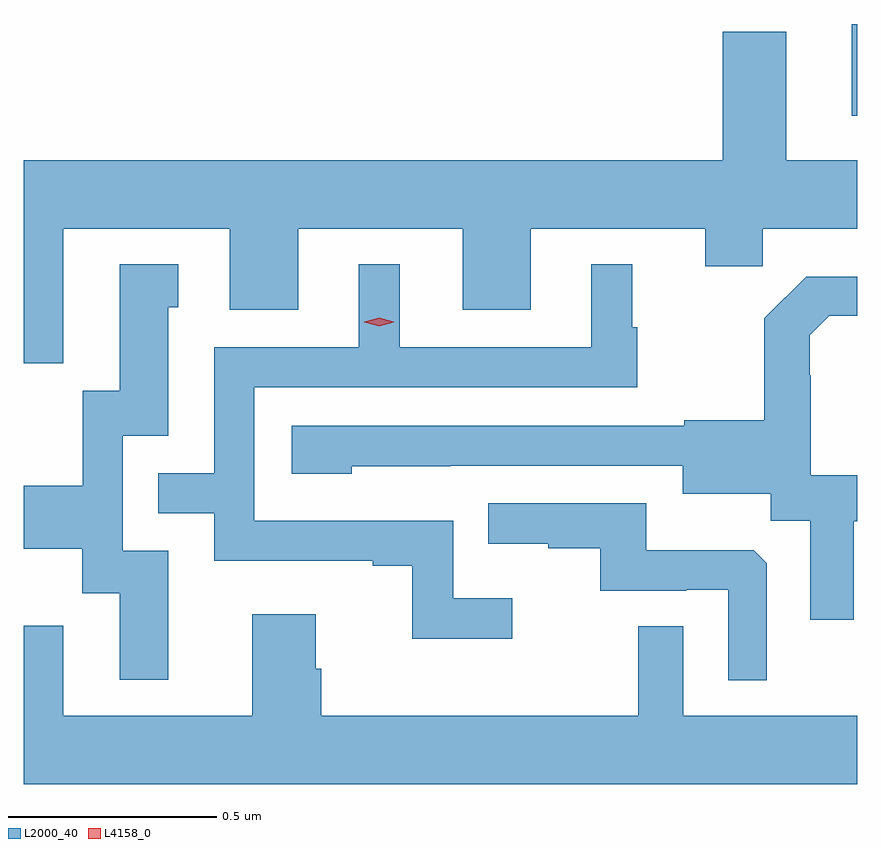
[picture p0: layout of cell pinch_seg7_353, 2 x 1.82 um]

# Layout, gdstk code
import gdstk
lib = gdstk.Library(unit=1e-6, precision=1e-09)
def R(c, l, rs):  # rectangles x0, y0, x1, y1
    for r in rs: c.add(gdstk.rectangle(r[:2], r[2:], *l))
def P(c, l, *ps):  # polygons
    for p in ps: c.add(gdstk.Polygon(p, *l))
L2000_40 = (2000, 40)
L4158_0 = (4158, 0)

pinch_seg7_353 = lib.new_cell('pinch_seg7_353')
R(pinch_seg7_353, L2000_40, [(459.668,1066.155,459.682,1066.375)])
P(pinch_seg7_353, L2000_40, [(457.682,1065.561),(457.777,1065.561),(457.777,1065.884),(458.177,1065.884),(458.177,1065.69),(458.341,1065.69),(458.341,1065.884),(458.735,1065.884),(458.735,1065.69),(458.899,1065.69),(458.899,1065.884),(459.317,1065.884),(459.317,1065.794),(459.455,1065.794),(459.455,1065.884),(459.682,1065.884),(459.682,1066.048),(459.511,1066.048),(459.511,1066.357),(459.359,1066.357),(459.359,1066.048),(457.682,1066.048)],
  [(458.029,1065.111),(457.92,1065.111),(457.92,1065.387),(458.029,1065.387),(458.029,1065.696),(458.053,1065.696),(458.053,1065.799),(457.913,1065.799),(457.913,1065.495),(457.824,1065.495),(457.824,1065.268),(457.682,1065.268),(457.682,1065.116),(457.823,1065.116),(457.823,1065.01),(457.913,1065.01),(457.913,1064.802),(458.029,1064.802)],
  [(458.854,1064.998),(458.712,1064.998),(458.712,1065.183),(458.235,1065.183),(458.235,1065.504),(459.154,1065.504),(459.154,1065.648),(459.142,1065.648),(459.142,1065.799),(459.044,1065.799),(459.044,1065.6),(458.584,1065.6),(458.584,1065.799),(458.486,1065.799),(458.486,1065.6),(458.139,1065.6),(458.139,1065.297),(458.005,1065.297),(458.005,1065.201),(458.139,1065.201),(458.139,1065.087),(458.519,1065.087),(458.519,1065.075),(458.614,1065.075),(458.614,1064.9),(458.854,1064.9)],
  [(459.673,1065.182),(459.682,1065.182),(459.682,1065.292),(459.57,1065.292),(459.57,1065.533),(459.568,1065.533),(459.568,1065.628),(459.615,1065.675),(459.682,1065.675),(459.682,1065.769),(459.559,1065.769),(459.459,1065.669),(459.459,1065.424),(459.267,1065.424),(459.267,1065.411),(458.325,1065.411),(458.325,1065.296),(458.469,1065.296),(458.469,1065.314),(458.705,1065.314),(458.705,1065.315),(459.263,1065.315),(459.263,1065.248),(459.474,1065.248),(459.474,1065.184),(459.569,1065.184),(459.569,1064.946),(459.673,1064.946)],
  [(459.465,1065.081),(459.433,1065.113),(459.175,1065.113),(459.175,1065.225),(458.797,1065.225),(458.797,1065.128),(458.941,1065.128),(458.941,1065.117),(459.065,1065.117),(459.065,1065.015),(459.272,1065.015),(459.272,1065.018),(459.372,1065.018),(459.372,1064.801),(459.465,1064.801)],
  [(459.682,1064.716),(459.264,1064.716),(459.264,1064.93),(459.156,1064.93),(459.156,1064.716),(458.396,1064.716),(458.396,1064.829),(458.383,1064.829),(458.383,1064.959),(458.231,1064.959),(458.231,1064.716),(457.777,1064.716),(457.777,1064.932),(457.682,1064.932),(457.682,1064.552),(459.682,1064.552)])
P(pinch_seg7_353, L4158_0, [(458.535,1065.65),(458.499,1065.66),(458.499,1065.66),(458.499,1065.661),(458.535,1065.67),(458.57,1065.661),(458.571,1065.66),(458.57,1065.66)])

lib.write_gds('pinch_seg7_353.gds')
